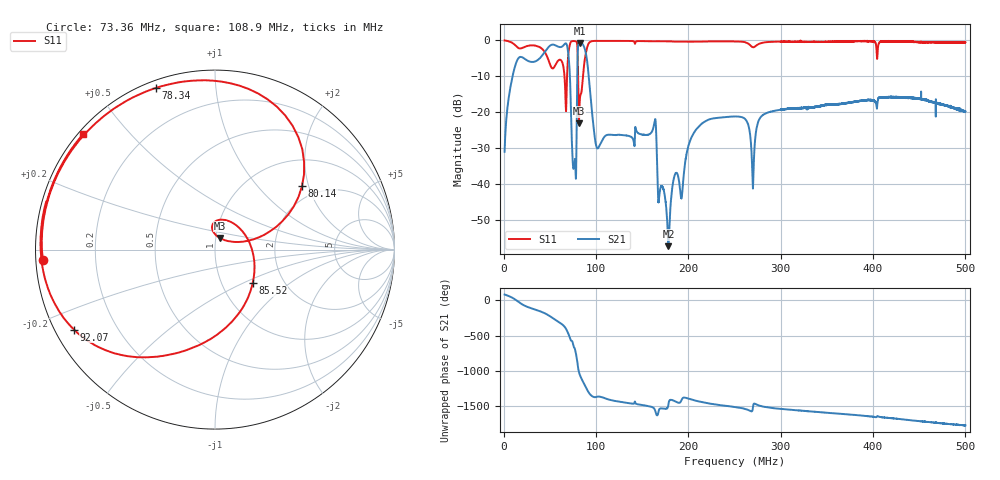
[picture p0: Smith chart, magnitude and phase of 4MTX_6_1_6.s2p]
! NanoVNA-App
! Date: 2026-08-18 21:42:57
! Start: 1MHz Stop: 500MHz Points: 6401
! S-Parameter data: F S11 S21 S12 S22
# Hz S RI R 50
!  Frequency  S11_Real  S11_Imag  S21_Real  S21_Imag  S12_Real  S12_Imag  S22_Real  S22_Imag
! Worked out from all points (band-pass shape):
!   6401 points, 1 MHz to 500 MHz, reference 50 ohm
!   highest |S21| = -0.80 dB at 82.17 MHz (marker M1); lowest = -57.1 dB at 178.5 MHz (marker M2)
!   |S21| within 3 dB of the highest: 43.12 MHz to 69.96 MHz (26.84 MHz wide, 47.5 % of centre); 80.16 MHz to 89.15 MHz (8.991 MHz wide, 10.6 % of centre)
!   lowest |S11| = -23.1 dB at 81.54 MHz (marker M3), VSWR 1.15, Z = 52.2 + j6.82 ohm
!   |S11| at or under -10 dB: 65.83 MHz to 68.63 MHz (2.797 MHz wide, 4.16 % of centre); 80.62 MHz to 85.85 MHz (5.222 MHz wide, 6.27 % of centre)
!   S12 and S22 are empty: the file has one direction only
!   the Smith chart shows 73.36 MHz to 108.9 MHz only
!   S11 on the Smith chart (normalised r, x): 73.36 MHz: 0.02, -0.03; 78.34 MHz: 0.03, +0.70; 80.14 MHz: 1.64, +1.81; 85.52 MHz: 1.40, -0.57; 92.07 MHz: 0.05, -0.26; 108.9 MHz: 0.01, +0.38
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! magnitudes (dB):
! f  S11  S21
! 1 MHz  -0.1  -31.0
! 14.72 MHz  -2.0  -5.5
! 52.23 MHz  -7.8  -1.3
! 68.36 MHz  -12.1  -1.3
! 73.36 MHz  -0.3  -24.5
! 78.34 MHz  -0.4  -37.8
! 80.14 MHz  -4.4  -4.0
! 81.54 MHz  -23.1  -0.9
! 82.17 MHz  -17.8  -0.8
! 84.19 MHz  -14.5  -0.9
! 85.52 MHz  -11.0  -1.1
! 92.07 MHz  -0.9  -10.0
! 108.9 MHz  -0.2  -26.9
! 162.7 MHz  -0.3  -23.6
! 167.4 MHz  -0.3  -44.5
! 178.5 MHz  -0.3  -57.1
! 206.3 MHz  -0.4  -25.6
! 250.5 MHz  -0.4  -21.2
! 269.9 MHz  -2.0  -41.2
! 333.7 MHz  -0.5  -18.8
! 416.9 MHz  -0.3  -15.9
! 500 MHz  -0.6  -19.7
